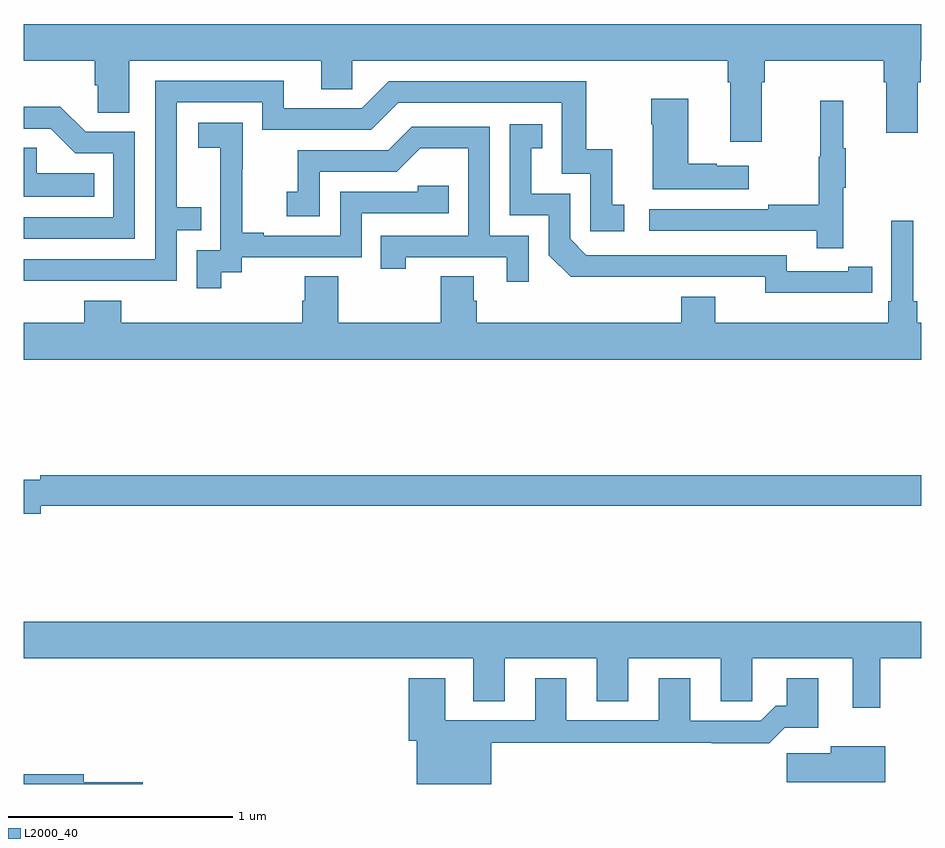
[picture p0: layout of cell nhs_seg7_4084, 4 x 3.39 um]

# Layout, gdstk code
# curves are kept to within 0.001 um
import gdstk
lib = gdstk.Library(unit=1e-6, precision=1e-09)
def P(c, l, *ps):  # polygons
    for p in ps: c.add(gdstk.Polygon(p, *l))
L2000_40 = (2000, 40)

nhs_seg7_4084 = lib.new_cell('nhs_seg7_4084')
P(nhs_seg7_4084, L2000_40, [(372.289,1059.128),(372.302,1059.128),(372.302,1059.224),(372.833,1059.224),(372.833,1059.128),(372.845,1059.128),(372.845,1058.904),(372.985,1058.904),(372.985,1059.128),(372.998,1059.128),(372.998,1059.224),(373,1059.224),(373,1059.388),(369,1059.388),(369,1059.224),(369.317,1059.224),(369.317,1059.115),(369.33,1059.115),(369.33,1058.992),(369.469,1058.992),(369.469,1059.224),(370.325,1059.224),(370.325,1059.097),(370.464,1059.097),(370.464,1059.224),(372.137,1059.224),(372.137,1059.128),(372.149,1059.128),(372.149,1058.862),(372.289,1058.862)],
  [(369.185,1058.244),(369.681,1058.244),(369.681,1058.469),(369.791,1058.469),(369.791,1058.57),(369.681,1058.57),(369.681,1059.039),(370.062,1059.039),(370.062,1058.916),(370.548,1058.916),(370.668,1059.036),(371.397,1059.036),(371.397,1058.721),(371.526,1058.721),(371.526,1058.463),(371.677,1058.463),(371.677,1058.583),(371.624,1058.583),(371.624,1058.83),(371.506,1058.83),(371.506,1059.132),(370.626,1059.132),(370.506,1059.012),(370.159,1059.012),(370.159,1059.135),(369.585,1059.135),(369.585,1058.34),(369,1058.34),(369,1058.243)],
  [(372.232,1058.755),(372.089,1058.755),(372.089,1058.765),(371.962,1058.765),(371.962,1059.055),(371.797,1059.055),(371.797,1058.942),(371.804,1058.942),(371.804,1058.651),(372.232,1058.651)],
  [(372.653,1058.659),(372.664,1058.659),(372.664,1058.833),(372.653,1058.833),(372.653,1059.046),(372.55,1059.046),(372.55,1058.796),(372.543,1058.796),(372.543,1058.582),(372.319,1058.582),(372.319,1058.562),(371.787,1058.562),(371.787,1058.466),(372.535,1058.466),(372.535,1058.388),(372.653,1058.388)],
  [(369.495,1058.907),(369.276,1058.907),(369.163,1059.02),(369,1059.02),(369,1058.922),(369.119,1058.922),(369.23,1058.811),(369.399,1058.811),(369.399,1058.526),(369,1058.526),(369,1058.43),(369.495,1058.43)],
  [(369.88,1058.281),(369.972,1058.281),(369.972,1058.349),(370.506,1058.349),(370.506,1058.544),(370.895,1058.544),(370.895,1058.667),(370.755,1058.667),(370.755,1058.64),(370.41,1058.64),(370.41,1058.445),(370.069,1058.445),(370.069,1058.458),(369.974,1058.458),(369.974,1058.741),(369.975,1058.741),(369.975,1058.947),(369.777,1058.947),(369.777,1058.837),(369.875,1058.837),(369.875,1058.609),(369.876,1058.609),(369.876,1058.379),(369.771,1058.379),(369.771,1058.211),(369.88,1058.211)],
  [(372.674,1058.19),(372.782,1058.19),(372.782,1058.306),(372.674,1058.306),(372.674,1058.286),(372.402,1058.286),(372.402,1058.358),(371.508,1058.358),(371.436,1058.43),(371.436,1058.631),(371.263,1058.631),(371.263,1058.835),(371.312,1058.835),(371.312,1058.941),(371.166,1058.941),(371.166,1058.535),(371.34,1058.535),(371.34,1058.358),(371.438,1058.261),(372.306,1058.262),(372.306,1058.189)],
  [(371.25,1058.445),(371.076,1058.445),(371.076,1058.931),(370.73,1058.931),(370.625,1058.826),(370.222,1058.826),(370.222,1058.641),(370.173,1058.641),(370.173,1058.532),(370.32,1058.532),(370.32,1058.73),(370.662,1058.73),(370.766,1058.834),(370.98,1058.834),(370.98,1058.445),(370.591,1058.445),(370.591,1058.298),(370.702,1058.298),(370.702,1058.349),(371.153,1058.349),(371.153,1058.238),(371.25,1058.238)],
  [(369.314,1058.722),(369.057,1058.722),(369.057,1058.837),(369,1058.837),(369,1058.618),(369.314,1058.618)],
  [(373,1058.056),(372.983,1058.056),(372.983,1058.152),(372.964,1058.152),(372.964,1058.512),(372.867,1058.512),(372.867,1058.152),(372.854,1058.152),(372.854,1058.056),(372.082,1058.056),(372.082,1058.173),(371.93,1058.173),(371.93,1058.056),(371.018,1058.056),(371.018,1058.154),(371.005,1058.154),(371.005,1058.264),(370.858,1058.264),(370.858,1058.056),(370.401,1058.056),(370.401,1058.264),(370.253,1058.264),(370.253,1058.154),(370.241,1058.154),(370.241,1058.056),(369.434,1058.056),(369.434,1058.155),(369.269,1058.155),(369.269,1058.056),(369,1058.056),(369,1057.892),(373,1057.892)],
  [(369.076,1057.24),(373,1057.24),(373,1057.376),(369.072,1057.376),(369.072,1057.357),(369,1057.357),(369,1057.205),(369.076,1057.205)],
  [(369,1056.56),(371.003,1056.56),(371.003,1056.37),(371.143,1056.37),(371.143,1056.56),(371.555,1056.56),(371.555,1056.37),(371.695,1056.37),(371.695,1056.56),(372.107,1056.56),(372.107,1056.37),(372.246,1056.37),(372.246,1056.56),(372.695,1056.56),(372.695,1056.339),(372.817,1056.339),(372.817,1056.56),(373,1056.56),(373,1056.724),(369,1056.724)],
  [(371.083,1056.184),(372.067,1056.184),(372.067,1056.182),(372.323,1056.182),(372.392,1056.251),(372.541,1056.251),(372.541,1056.472),(372.401,1056.472),(372.401,1056.349),(372.352,1056.349),(372.285,1056.282),(371.971,1056.282),(371.971,1056.472),(371.831,1056.472),(371.831,1056.285),(371.419,1056.285),(371.419,1056.472),(371.279,1056.472),(371.279,1056.285),(370.879,1056.285),(370.879,1056.472),(370.715,1056.472),(370.715,1056.192),(370.751,1056.192),(370.751,1056),(371.083,1056)],
  [(372.841,1056.169),(372.596,1056.169),(372.596,1056.137),(372.402,1056.137),(372.402,1056.008),(372.841,1056.008)],
  [(369.529,1056.008),(369.268,1056.008),(369.268,1056.044),(369,1056.044),(369,1056),(369.529,1056)])

lib.write_gds('nhs_seg7_4084.gds')
